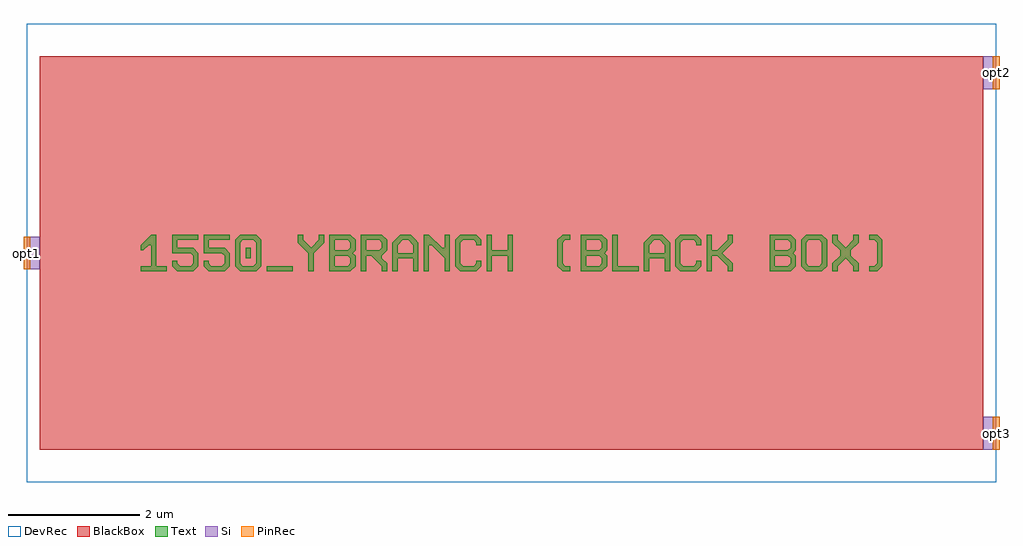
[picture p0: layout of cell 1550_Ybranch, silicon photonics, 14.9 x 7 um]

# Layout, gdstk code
import gdstk
lib = gdstk.Library(unit=1e-6, precision=1e-09)
def R(c, l, rs):  # rectangles x0, y0, x1, y1
    for r in rs: c.add(gdstk.rectangle(r[:2], r[2:], *l))
def P(c, l, *ps):  # polygons
    for p in ps: c.add(gdstk.Polygon(p, *l))
Si = (1, 0)
PinRec = (1, 10)
Text = (10, 0)
DevRec = (68, 0)
BlackBox = (998, 0)

text = lib.new_cell('TEXT')
R(text, Text, [(1.92,0,2.32,0.08), (1.6,0.2,1.68,0.36)])
P(text, Text, [(0,0),(0,0.08),(0.16,0.08),(0.16,0.4),(0.12,0.4),(0.04,0.32),(0,0.32),(0,0.4),(0.16,0.56),(0.24,0.56),(0.24,0.08),(0.4,0.08),(0.4,0)],
  [(0.56,0),(0.48,0.08),(0.48,0.16),(0.56,0.16),(0.56,0.12),(0.6,0.08),(0.76,0.08),(0.8,0.12),(0.8,0.24),(0.76,0.28),(0.48,0.28),(0.48,0.56),(0.88,0.56),(0.88,0.48),(0.56,0.48),(0.56,0.36),(0.8,0.36),(0.88,0.28),(0.88,0.08),(0.8,0)],
  [(1.04,0),(0.96,0.08),(0.96,0.16),(1.04,0.16),(1.04,0.12),(1.08,0.08),(1.24,0.08),(1.28,0.12),(1.28,0.24),(1.24,0.28),(0.96,0.28),(0.96,0.56),(1.36,0.56),(1.36,0.48),(1.04,0.48),(1.04,0.36),(1.28,0.36),(1.36,0.28),(1.36,0.08),(1.28,0)],
  [(1.52,0),(1.44,0.08),(1.44,0.48),(1.52,0.56),(1.76,0.56),(1.84,0.48),(1.56,0.48),(1.52,0.44),(1.52,0.12),(1.56,0.08),(1.72,0.08),(1.76,0.12),(1.76,0.44),(1.72,0.48),(1.84,0.48),(1.84,0.08),(1.76,0)],
  [(2.56,0),(2.56,0.28),(2.4,0.44),(2.4,0.56),(2.48,0.56),(2.48,0.48),(2.6,0.36),(2.72,0.48),(2.72,0.56),(2.8,0.56),(2.8,0.44),(2.64,0.28),(2.64,0)],
  [(2.88,0),(2.88,0.56),(3.2,0.56),(3.28,0.48),(2.96,0.48),(2.96,0.32),(3.16,0.32),(3.2,0.36),(3.2,0.44),(3.16,0.48),(3.28,0.48),(3.28,0.32),(3.24,0.28),(3.28,0.24),(2.96,0.24),(2.96,0.08),(3.16,0.08),(3.2,0.12),(3.2,0.2),(3.16,0.24),(3.28,0.24),(3.28,0.08),(3.2,0)],
  [(3.36,0),(3.36,0.56),(3.68,0.56),(3.76,0.48),(3.44,0.48),(3.44,0.32),(3.64,0.32),(3.68,0.36),(3.68,0.44),(3.64,0.48),(3.76,0.48),(3.76,0.32),(3.68,0.24),(3.68,0.2),(3.76,0.12),(3.76,0),(3.68,0),(3.68,0.08),(3.52,0.24),(3.44,0.24),(3.44,0)],
  [(3.84,0),(3.84,0.44),(3.96,0.56),(4.12,0.56),(4.2,0.48),(4,0.48),(3.92,0.4),(3.92,0.28),(4.16,0.28),(4.16,0.4),(4.08,0.48),(4.2,0.48),(4.24,0.44),(4.24,0),(4.16,0),(4.16,0.2),(3.92,0.2),(3.92,0)],
  [(4.32,0),(4.32,0.56),(4.4,0.56),(4.6,0.36),(4.64,0.36),(4.64,0.56),(4.72,0.56),(4.72,0),(4.64,0),(4.64,0.2),(4.44,0.4),(4.4,0.4),(4.4,0)],
  [(4.88,0),(4.8,0.08),(4.8,0.48),(4.88,0.56),(5.12,0.56),(5.2,0.48),(5.2,0.4),(5.12,0.4),(5.12,0.44),(5.08,0.48),(4.92,0.48),(4.88,0.44),(4.88,0.12),(4.92,0.08),(5.08,0.08),(5.12,0.12),(5.12,0.16),(5.2,0.16),(5.2,0.08),(5.12,0)],
  [(5.28,0),(5.28,0.56),(5.36,0.56),(5.36,0.32),(5.6,0.32),(5.6,0.56),(5.68,0.56),(5.68,0),(5.6,0),(5.6,0.24),(5.36,0.24),(5.36,0)],
  [(6.44,0),(6.36,0.08),(6.36,0.48),(6.44,0.56),(6.56,0.56),(6.56,0.48),(6.48,0.48),(6.44,0.44),(6.44,0.12),(6.48,0.08),(6.56,0.08),(6.56,0)],
  [(6.72,0),(6.72,0.56),(7.04,0.56),(7.12,0.48),(6.8,0.48),(6.8,0.32),(7,0.32),(7.04,0.36),(7.04,0.44),(7,0.48),(7.12,0.48),(7.12,0.32),(7.08,0.28),(7.12,0.24),(6.8,0.24),(6.8,0.08),(7,0.08),(7.04,0.12),(7.04,0.2),(7,0.24),(7.12,0.24),(7.12,0.08),(7.04,0)],
  [(7.2,0),(7.2,0.56),(7.28,0.56),(7.28,0.08),(7.6,0.08),(7.6,0)],
  [(7.68,0),(7.68,0.44),(7.8,0.56),(7.96,0.56),(8.04,0.48),(7.84,0.48),(7.76,0.4),(7.76,0.28),(8,0.28),(8,0.4),(7.92,0.48),(8.04,0.48),(8.08,0.44),(8.08,0),(8,0),(8,0.2),(7.76,0.2),(7.76,0)],
  [(8.24,0),(8.16,0.08),(8.16,0.48),(8.24,0.56),(8.48,0.56),(8.56,0.48),(8.56,0.4),(8.48,0.4),(8.48,0.44),(8.44,0.48),(8.28,0.48),(8.24,0.44),(8.24,0.12),(8.28,0.08),(8.44,0.08),(8.48,0.12),(8.48,0.16),(8.56,0.16),(8.56,0.08),(8.48,0)],
  [(8.64,0),(8.64,0.56),(8.72,0.56),(8.72,0.32),(8.8,0.32),(8.96,0.48),(8.96,0.56),(9.04,0.56),(9.04,0.44),(8.88,0.28),(9.04,0.12),(9.04,0),(8.96,0),(8.96,0.08),(8.8,0.24),(8.72,0.24),(8.72,0)],
  [(9.6,0),(9.6,0.56),(9.92,0.56),(10,0.48),(9.68,0.48),(9.68,0.32),(9.88,0.32),(9.92,0.36),(9.92,0.44),(9.88,0.48),(10,0.48),(10,0.32),(9.96,0.28),(10,0.24),(9.68,0.24),(9.68,0.08),(9.88,0.08),(9.92,0.12),(9.92,0.2),(9.88,0.24),(10,0.24),(10,0.08),(9.92,0)],
  [(10.16,0),(10.08,0.08),(10.08,0.48),(10.16,0.56),(10.4,0.56),(10.48,0.48),(10.48,0.28),(10.4,0.28),(10.4,0.44),(10.36,0.48),(10.2,0.48),(10.16,0.44),(10.16,0.12),(10.2,0.08),(10.36,0.08),(10.4,0.12),(10.4,0.28),(10.48,0.28),(10.48,0.08),(10.4,0)],
  [(10.56,0),(10.56,0.12),(10.68,0.24),(10.68,0.32),(10.56,0.44),(10.56,0.56),(10.64,0.56),(10.64,0.48),(10.76,0.36),(10.88,0.48),(10.88,0.56),(10.96,0.56),(10.96,0.44),(10.84,0.32),(10.84,0.24),(10.96,0.12),(10.96,0),(10.88,0),(10.88,0.08),(10.76,0.2),(10.64,0.08),(10.64,0)],
  [(11.12,0),(11.12,0.08),(11.2,0.08),(11.24,0.12),(11.24,0.44),(11.2,0.48),(11.12,0.48),(11.12,0.56),(11.24,0.56),(11.32,0.48),(11.32,0.08),(11.24,0)])

c_1550_ybranch = lib.new_cell('1550_Ybranch')
R(c_1550_ybranch, Si, [(7.2,-3,7.4,-2.5), (-7.4,-0.25,-7.2,0.25), (7.2,2.5,7.4,3)])
R(c_1550_ybranch, DevRec, [(-7.4,-3.5,7.4,3.5)])
R(c_1550_ybranch, BlackBox, [(-7.2,-3,7.2,3)])
c_1550_ybranch.add(gdstk.FlexPath([(-7.35,0),(-7.45,0)], 0.5, ends="flush", simple_path=True, layer=1, datatype=10))  # PinRec
c_1550_ybranch.add(gdstk.FlexPath([(7.35,2.75),(7.45,2.75)], 0.5, ends="flush", simple_path=True, layer=1, datatype=10))  # PinRec
c_1550_ybranch.add(gdstk.FlexPath([(7.35,-2.75),(7.45,-2.75)], 0.5, ends="flush", simple_path=True, layer=1, datatype=10))  # PinRec
c_1550_ybranch.add(gdstk.Reference(text, (-5.66,-0.28)))
c_1550_ybranch.add(gdstk.Label('opt2', (7.4,2.75), layer=1, texttype=10))
c_1550_ybranch.add(gdstk.Label('opt3', (7.4,-2.75), layer=1, texttype=10))
c_1550_ybranch.add(gdstk.Label('opt1', (-7.4,0), layer=1, texttype=10))

lib.write_gds('1550_Ybranch.gds')
